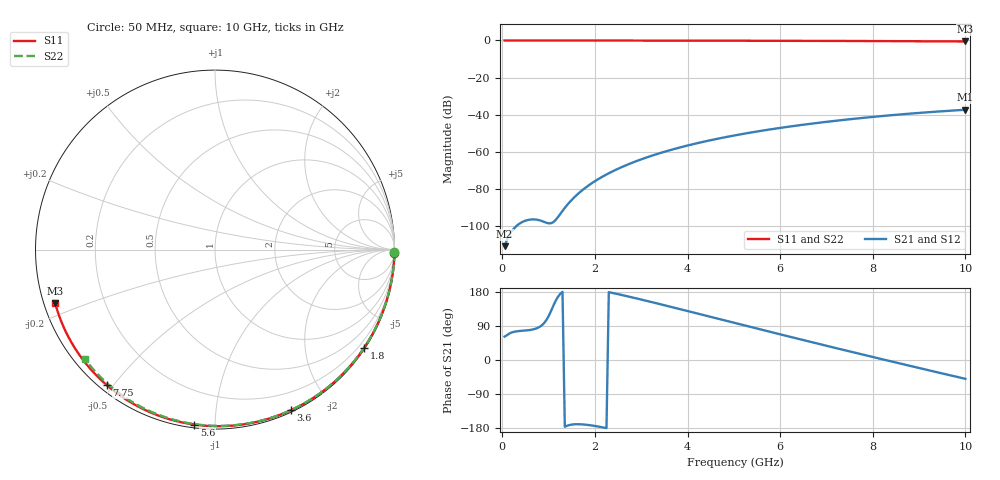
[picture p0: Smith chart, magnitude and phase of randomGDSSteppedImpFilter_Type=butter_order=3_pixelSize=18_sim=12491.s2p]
! freq	dB(S11)	phase(S11)	dB(S12)	phase(S12)
!  dB(S21)	phase(S21)	dB(S22)	phase(S22)
!S-par simulation data
#  GHz  S  DB  R 50
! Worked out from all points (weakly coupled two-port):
!   200 points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, 50 MHz to 10 GHz, reference 50 ohm
!   highest |S21| = -37.30 dB at 10 GHz (marker M1); lowest = -110.7 dB at 50 MHz (marker M2)
!   lowest |S11| = -0.5 dB at 10 GHz (marker M3), VSWR 31.91, Z = 1.61 - j8.19 ohm
!   |S11| at or under -10 dB: nowhere
!   |S22| runs from -0.5 to 0.0 dB; largest |S21 - S12| = 0
!   S11 on the Smith chart (normalised r, x): 50 MHz: open; 1.8 GHz: 0.03, -3.35; 3.6 GHz: 0.02, -1.58; 5.6 GHz: 0.02, -0.89; 7.75 GHz: 0.02, -0.48; 10 GHz: 0.03, -0.16
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0.05  -0.00 -0.9  -110.72 61.9  -110.72 61.9  -0.00 -0.8
0.45  -0.01 -8.5  -97.50 77.3  -97.50 77.3  -0.01 -7.3
0.9  -0.02 -16.8  -97.62 97.0  -97.62 97.0  -0.02 -14.5
1.3  -0.03 -24.2  -91.75 179.9  -91.75 179.9  -0.03 -20.9
1.75  -0.04 -32.3  -80.14 -170.1  -80.14 -170.1  -0.04 -28.0
1.8  -0.04 -33.2  -79.18 -170.7  -79.18 -170.7  -0.04 -28.8
1.95  -0.05 -35.9  -76.55 -173.1  -76.55 -173.1  -0.04 -31.1
2.1  -0.05 -38.6  -74.22 -176.2  -74.22 -176.2  -0.04 -33.4
2.3  -0.05 -42.2  -71.47 179.0  -71.47 179.0  -0.05 -36.5
2.5  -0.06 -45.7  -69.05 173.8  -69.05 173.8  -0.05 -39.6
2.9  -0.07 -52.7  -64.90 162.5  -64.90 162.5  -0.06 -45.7
3.4  -0.08 -61.3  -60.67 147.6  -60.67 147.6  -0.07 -53.2
3.6  -0.09 -64.6  -59.20 141.5  -59.20 141.5  -0.08 -56.1
4.3  -0.11 -76.2  -54.77 120.0  -54.77 120.0  -0.09 -66.3
5.05  -0.14 -88.2  -50.95 96.8  -50.95 96.8  -0.12 -76.8
5.6  -0.16 -96.7  -48.60 79.9  -48.60 79.9  -0.14 -84.3
6.15  -0.19 -105.1  -46.53 63.2  -46.53 63.2  -0.16 -91.7
6.7  -0.22 -113.3  -44.71 46.5  -44.71 46.5  -0.19 -98.9
7.75  -0.30 -128.6  -41.76 15.3  -41.76 15.3  -0.26 -112.2
8.35  -0.35 -137.3  -40.34 -2.3  -40.34 -2.3  -0.31 -119.7
9.2  -0.44 -149.6  -38.62 -26.9  -38.62 -26.9  -0.39 -130.1
10  -0.54 -161.4  -37.30 -49.7  -37.30 -49.7  -0.47 -139.8
